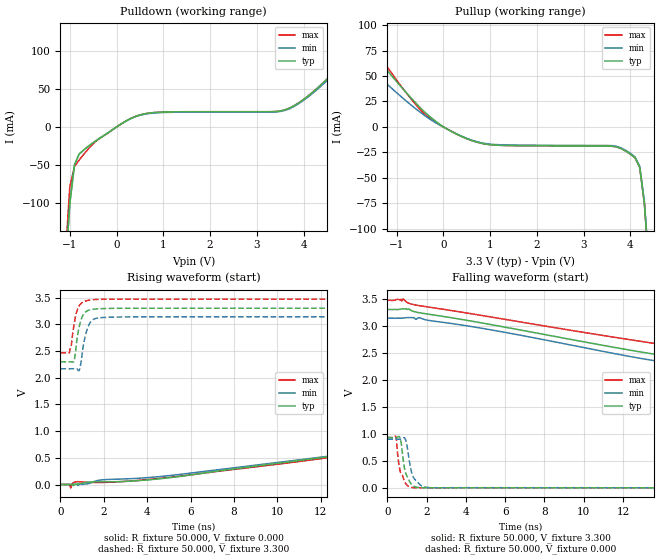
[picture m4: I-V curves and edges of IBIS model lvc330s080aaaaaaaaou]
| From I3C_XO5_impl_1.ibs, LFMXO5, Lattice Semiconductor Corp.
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[Model] lvc330s080aaaaaaaaou
Model_type Output
Polarity   Non-Inverting
Enable   Active-High
Vmeas =  1.650V
Cref =  0.0F
Rref =  1.000M
Vref =  0.0V
C_comp   5.000pF   4.000pF   5.500pF
[Temperature Range]   25.000   0.125k   -40.000
[Voltage Range]   3.300V   3.140V   3.470V
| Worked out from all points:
|   slope of the pulldown table from 0 to 0.495 V, typ, clamps not added: 31.5 ohm
|   slope of the pullup table from 0 to 0.495 V, typ, clamps not added: 43.2 ohm
|   rising waveform, R_fixture 50.000, V_fixture 0.000: 20-80 % time 10.1ns typ, 10.8ns min, 10.1ns max; typ from 0 V to 0.929 V
|   rising waveform, R_fixture 50.000, V_fixture 3.300: 20-80 % time 265ps typ, 295ps min, 259ps max; typ from 2.3 V to 3.3 V
|   falling waveform, R_fixture 50.000, V_fixture 3.300: 20-80 % time 9.12ns typ, 8.53ns min, 10.2ns max; typ from 3.3 V to 2.3 V
|   falling waveform, R_fixture 50.000, V_fixture 0.000: 20-80 % time 306ps typ, 322ps min, 315ps max; typ from 0.929 V to 0 V
[Pulldown]
|Voltage   I(typ)   I(min)   I(max)
-3.3V     -3.025A    -3.025A    -3.918A
-1.1V     -192.9mA   -192.9mA   -175.3mA
-1V       -101.2mA   -101.2mA   -78.95mA
-900mV    -49.86mA   -49.86mA   -52.21mA
-800mV    -35.81mA   -35.81mA   -43.74mA
200mV     7.775mA    7.542mA    7.775mA
800mV     18.91mA    18.34mA    18.91mA
3.6V      22.45mA    21.77mA    22.45mA
4.1V      40.8mA     39.58mA    40.8mA
5.4V      113.7mA    110.3mA    113.7mA
6.1V      131.6mA    127.7mA    131.6mA
6.6V      184.5mA    179mA      184.5mA
[Pullup]
|Voltage   I(typ)   I(min)   I(max)
-3.3V     145.5mA    90.7mA     185.8mA
-2.7V     96.8mA     74.7mA     125.4mA
-2.1V     95.1mA     70.11mA    105.4mA
-1.8V     86.3mA     64.15mA    96.9mA
-500mV    19.13mA    14.57mA    17.21mA
0V        28.62nA    228.6nA    28.62nA
600mV     -13.29mA   -12.89mA   -13.29mA
3.9V      -23.67mA   -22.96mA   -23.67mA
4.2V      -39.73mA   -38.54mA   -39.73mA
4.3V      -75.4mA    -73.1mA    -75.4mA
4.4V      -140.5mA   -136.3mA   -140.5mA
6.6V      -2.178A    -2.113A    -2.178A
[Ramp]
| variable   typ   min   max
dV/dt_r   0.558/10.154n   0.540/10.738n   0.559/10.105n
dV/dt_f   0.602/9.145n   0.584/8.567n   0.602/10.251n
R_load = 50.000
[Rising Waveform]
R_fixture = 50.000
V_fixture = 0.000
V_fixture_min = 0.000
V_fixture_max = 0.000
|  time   V(typ)   V(min)   V(max)
0s        488.9uV    1.198mV    488.9uV
395ps     658.9uV    831.3uV    3.42mV
476ps     748.1uV    1.21mV     -62.3mV
567ps     -8.091mV   1.352mV    25.37mV
756ps     7.909mV    3.31mV     52.67mV
1.276ns   44.04mV    15.94mV    39.37mV
1.915ns   50.23mV    87.65mV    39.47mV
4.871ns   120.6mV    160.8mV    128.3mV
18.34ns   852.8mV    827.3mV    867.3mV
20ns      929.1mV    899.7mV    931mV
[Rising Waveform]
R_fixture = 50.000
V_fixture = 3.300
V_fixture_min = 3.140
V_fixture_max = 3.470
|  time   V(typ)   V(min)   V(max)
0s        2.297V     2.167V     2.467V
409ps     2.297V     2.166V     2.466V
495ps     2.298V     2.167V     2.59V
617ps     2.297V     2.168V     2.964V
732ps     2.615V     2.168V     3.208V
866ps     2.954V     2.137V     3.345V
1.122ns   3.215V     2.737V     3.43V
1.393ns   3.272V     3.045V     3.454V
2.705ns   3.298V     3.135V     3.469V
20ns      3.3V       3.14V      3.47V
[Falling Waveform]
R_fixture = 50.000
V_fixture = 3.300
V_fixture_min = 3.140
V_fixture_max = 3.470
|  time   V(typ)   V(min)   V(max)
0s        3.3V       3.14V      3.47V
688ps     3.308V     3.14V      3.488V
728ps     3.309V     3.14V      3.458V
798ps     3.311V     3.142V     3.492V
1.104ns   3.305V     3.151V     3.415V
1.456ns   3.252V     3.118V     3.382V
1.635ns   3.24V      3.148V     3.371V
14.38ns   2.432V     2.313V     2.632V
17.15ns   2.336V     2.218V     2.518V
20ns      2.297V     2.167V     2.467V
[Falling Waveform]
R_fixture = 50.000
V_fixture = 0.000
V_fixture_min = 0.000
V_fixture_max = 0.000
|  time   V(typ)   V(min)   V(max)
0s        929.1mV    899.7mV    931mV
432ps     928.7mV    899.2mV    951mV
635ps     936mV      899.2mV    340.2mV
704ps     834.9mV    904.4mV    270.4mV
894ps     325.7mV    914.7mV    106.7mV
976ps     235.8mV    831.3mV    58.85mV
1.286ns   44.1mV     226.5mV    5.371mV
1.736ns   2.356mV    37.35mV    -635.9uV
2.289ns   60.46uV    1.945mV    -757.1uV
20ns      488.9uV    1.198mV    488.9uV
